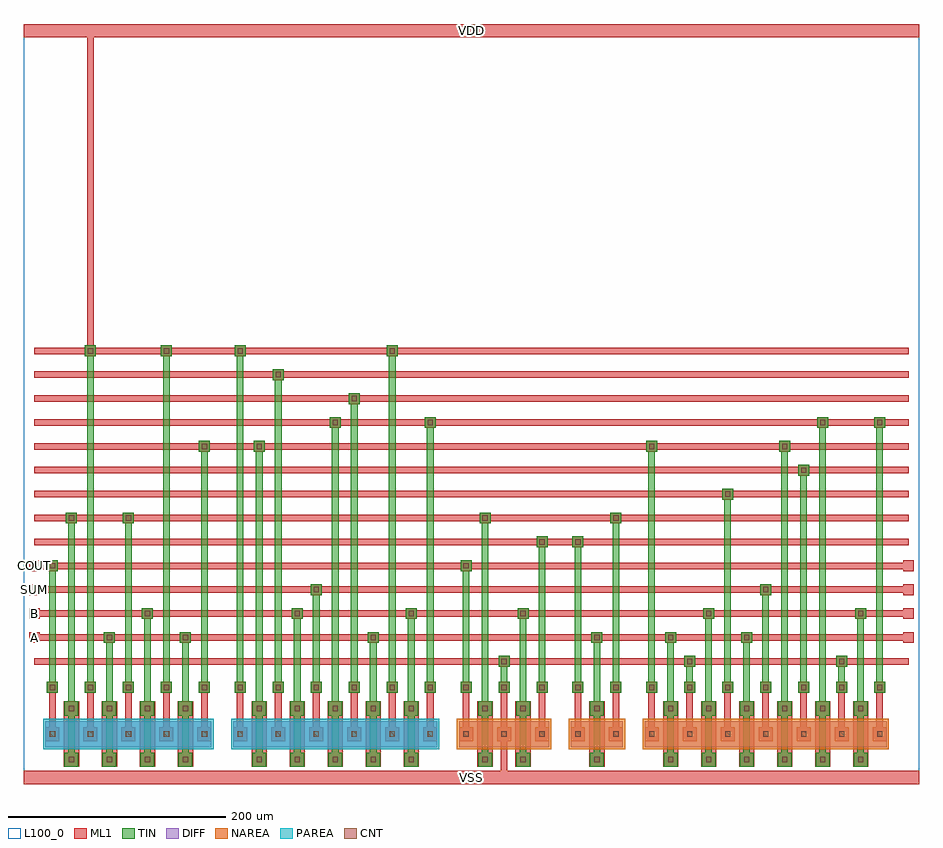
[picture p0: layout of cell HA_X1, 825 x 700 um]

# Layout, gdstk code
import gdstk
lib = gdstk.Library(unit=1e-6, precision=1e-09)
def R(c, l, rs):  # rectangles x0, y0, x1, y1
    for r in rs: c.add(gdstk.rectangle(r[:2], r[2:], *l))
def A(c, l, x, y, w, h, nx, ny, dx, dy):  # array of equal rectangles
    R(c, l, [(x+i*dx, y+j*dy, x+i*dx+w, y+j*dy+h) for i in range(nx) for j in range(ny)])
DIFF = (3, 0)
TIN = (5, 0)
CNT = (7, 0)
ML1 = (8, 0)
PAREA = (18, 0)
NAREA = (19, 0)
L100_0 = (100, 0)

ha_x1 = lib.new_cell('HA_X1')
R(ha_x1, DIFF, [(20,34,173,58), (193,34,381,58), (401,34,484,58), (504,34,552,58), (572,34,795,58)])
A(ha_x1, TIN, 37.5, 16, 13, 13, 4, 2, 35, 47)
A(ha_x1, TIN, 210.5, 16, 13, 13, 5, 2, 35, 47)
A(ha_x1, TIN, 453.5, 16, 13, 13, 3, 2, 68, 47)
A(ha_x1, TIN, 624.5, 16, 13, 13, 5, 2, 35, 47)
A(ha_x1, TIN, 41, 28, 6, 37.5, 4, 1, 35, 0)
A(ha_x1, TIN, 214, 28, 6, 37.5, 5, 1, 35, 0)
A(ha_x1, TIN, 457, 28, 6, 37.5, 3, 1, 68, 0)
A(ha_x1, TIN, 628, 28, 6, 37.5, 5, 1, 35, 0)
A(ha_x1, TIN, 21.5, 84, 10, 10, 5, 1, 35, 0)
A(ha_x1, TIN, 194.5, 84, 10, 10, 6, 1, 35, 0)
A(ha_x1, TIN, 402.5, 84, 10, 10, 3, 1, 35, 0)
A(ha_x1, TIN, 573.5, 84, 10, 10, 7, 1, 35, 0)
R(ha_x1, TIN, [(418.5,16,431.5,29), (422,28,428,65.5), (418.5,63,431.5,76), (41,69.5,47,245), (76,69.5,82,135), (111,69.5,117,157), (146,69.5,152,135), (214,69.5,220,311), (249,69.5,255,157), (284,69.5,290,333), (319,69.5,325,135), (354,69.5,360,157), (422,69.5,428,245), (457,69.5,463,157), (525,69.5,531,135), (593,69.5,599,135), (628,69.5,634,157), (663,69.5,669,135), (698,69.5,704,311), (733,69.5,739,333), (768,69.5,774,157), (505.5,84,515.5,94), (540.5,84,550.5,94), (23.5,89,29.5,201), (58.5,89,64.5,399), (93.5,89,99.5,245), (128.5,89,134.5,399), (163.5,89,169.5,311), (196.5,89,202.5,399), (231.5,89,237.5,377), (266.5,89,272.5,179), (301.5,89,307.5,355), (336.5,89,342.5,399), (371.5,89,377.5,333), (404.5,89,410.5,201), (439.5,89,445.5,113), (474.5,89,480.5,223), (507.5,89,513.5,223), (542.5,89,548.5,245), (575.5,89,581.5,311), (610.5,89,616.5,113), (645.5,89,651.5,267), (680.5,89,686.5,179), (715.5,89,721.5,289), (750.5,89,756.5,113), (785.5,89,791.5,333), (437.5,108,447.5,118), (608.5,108,618.5,118), (748.5,108,758.5,118), (74,130,84,140), (144,130,154,140), (317,130,327,140), (523,130,533,140), (591,130,601,140), (661,130,671,140), (109,152,119,162), (247,152,257,162), (352,152,362,162), (455,152,465,162), (626,152,636,162), (766,152,776,162), (264.5,174,274.5,184), (678.5,174,688.5,184), (21.5,196,31.5,206), (402.5,196,412.5,206), (472.5,218,482.5,228), (505.5,218,515.5,228), (39,240,49,250), (91.5,240,101.5,250), (420,240,430,250), (540.5,240,550.5,250), (643.5,262,653.5,272), (713.5,284,723.5,294), (161.5,306,171.5,316), (212,306,222,316), (573.5,306,583.5,316), (696,306,706,316), (282,328,292,338), (369.5,328,379.5,338), (731,328,741,338), (783.5,328,793.5,338), (299.5,350,309.5,360), (229.5,372,239.5,382), (56.5,394,66.5,404), (126.5,394,136.5,404), (194.5,394,204.5,404), (334.5,394,344.5,404)])
A(ha_x1, CNT, 41.5, 20, 5, 5, 4, 2, 35, 47)
A(ha_x1, CNT, 214.5, 20, 5, 5, 5, 2, 35, 47)
A(ha_x1, CNT, 457.5, 20, 5, 5, 3, 2, 68, 47)
A(ha_x1, CNT, 628.5, 20, 5, 5, 5, 2, 35, 47)
A(ha_x1, CNT, 24, 43.5, 5, 5, 5, 2, 35, 43)
A(ha_x1, CNT, 197, 43.5, 5, 5, 6, 2, 35, 43)
A(ha_x1, CNT, 405, 43.5, 5, 5, 3, 2, 35, 43)
A(ha_x1, CNT, 576, 43.5, 5, 5, 7, 2, 35, 43)
R(ha_x1, CNT, [(422.5,20,427.5,25), (508,43.5,513,48.5), (543,43.5,548,48.5), (422.5,67,427.5,72), (508,86.5,513,91.5), (543,86.5,548,91.5), (440,110.5,445,115.5), (611,110.5,616,115.5), (751,110.5,756,115.5), (76.5,132.5,81.5,137.5), (146.5,132.5,151.5,137.5), (319.5,132.5,324.5,137.5), (525.5,132.5,530.5,137.5), (593.5,132.5,598.5,137.5), (663.5,132.5,668.5,137.5), (111.5,154.5,116.5,159.5), (249.5,154.5,254.5,159.5), (354.5,154.5,359.5,159.5), (457.5,154.5,462.5,159.5), (628.5,154.5,633.5,159.5), (768.5,154.5,773.5,159.5), (267,176.5,272,181.5), (681,176.5,686,181.5), (24,198.5,29,203.5), (405,198.5,410,203.5), (475,220.5,480,225.5), (508,220.5,513,225.5), (41.5,242.5,46.5,247.5), (94,242.5,99,247.5), (422.5,242.5,427.5,247.5), (543,242.5,548,247.5), (646,264.5,651,269.5), (716,286.5,721,291.5), (164,308.5,169,313.5), (214.5,308.5,219.5,313.5), (576,308.5,581,313.5), (698.5,308.5,703.5,313.5), (284.5,330.5,289.5,335.5), (372,330.5,377,335.5), (733.5,330.5,738.5,335.5), (786,330.5,791,335.5), (302,352.5,307,357.5), (232,374.5,237,379.5), (59,396.5,64,401.5), (129,396.5,134,401.5), (197,396.5,202,401.5), (337,396.5,342,401.5)])
A(ha_x1, ML1, 37, 16, 14, 60, 4, 1, 35, 0)
A(ha_x1, ML1, 37.5, 16, 13, 13, 4, 2, 35, 47)
A(ha_x1, ML1, 210, 16, 14, 60, 5, 1, 35, 0)
A(ha_x1, ML1, 210.5, 16, 13, 13, 5, 2, 35, 47)
A(ha_x1, ML1, 453, 16, 14, 60, 3, 1, 68, 0)
A(ha_x1, ML1, 453.5, 16, 13, 13, 3, 2, 68, 47)
A(ha_x1, ML1, 624, 16, 14, 60, 5, 1, 35, 0)
A(ha_x1, ML1, 624.5, 16, 13, 13, 5, 2, 35, 47)
A(ha_x1, ML1, 20, 39.5, 13, 13, 5, 1, 35, 0)
A(ha_x1, ML1, 193, 39.5, 13, 13, 6, 1, 35, 0)
A(ha_x1, ML1, 401, 39.5, 13, 13, 3, 1, 35, 0)
A(ha_x1, ML1, 572, 39.5, 13, 13, 7, 1, 35, 0)
A(ha_x1, ML1, 23.5, 46, 6, 43, 5, 1, 35, 0)
A(ha_x1, ML1, 196.5, 46, 6, 43, 6, 1, 35, 0)
A(ha_x1, ML1, 404.5, 46, 6, 43, 3, 1, 35, 0)
A(ha_x1, ML1, 575.5, 46, 6, 43, 7, 1, 35, 0)
A(ha_x1, ML1, 21.5, 84, 10, 10, 5, 1, 35, 0)
A(ha_x1, ML1, 194.5, 84, 10, 10, 6, 1, 35, 0)
A(ha_x1, ML1, 402.5, 84, 10, 10, 3, 1, 35, 0)
A(ha_x1, ML1, 573.5, 84, 10, 10, 7, 1, 35, 0)
A(ha_x1, ML1, 10, 110, 805, 6, 1, 14, 0, 22)
A(ha_x1, ML1, 5, 130, 10, 10, 1, 4, 0, 22)
A(ha_x1, ML1, 810, 130, 10, 10, 1, 4, 0, 22)
R(ha_x1, ML1, [(0,0,825,12), (439.5,3,445.5,92), (418,16,432,76), (418.5,16,431.5,29), (504,39.5,517,52.5), (539,39.5,552,52.5), (507.5,46,513.5,89), (542.5,46,548.5,89), (418.5,63,431.5,76), (505.5,84,515.5,94), (540.5,84,550.5,94), (437.5,108,447.5,118), (608.5,108,618.5,118), (748.5,108,758.5,118), (74,130,84,140), (144,130,154,140), (317,130,327,140), (523,130,533,140), (591,130,601,140), (661,130,671,140), (109,152,119,162), (247,152,257,162), (352,152,362,162), (455,152,465,162), (626,152,636,162), (766,152,776,162), (264.5,174,274.5,184), (678.5,174,688.5,184), (21.5,196,31.5,206), (402.5,196,412.5,206), (472.5,218,482.5,228), (505.5,218,515.5,228), (39,240,49,250), (91.5,240,101.5,250), (420,240,430,250), (540.5,240,550.5,250), (643.5,262,653.5,272), (713.5,284,723.5,294), (161.5,306,171.5,316), (212,306,222,316), (573.5,306,583.5,316), (696,306,706,316), (282,328,292,338), (369.5,328,379.5,338), (731,328,741,338), (783.5,328,793.5,338), (299.5,350,309.5,360), (229.5,372,239.5,382), (56.5,394,66.5,404), (126.5,394,136.5,404), (194.5,394,204.5,404), (334.5,394,344.5,404), (58.5,396,64.5,697), (0,688,825,700)])
R(ha_x1, PAREA, [(18,32,175,60), (191,32,383,60)])
R(ha_x1, NAREA, [(399,32,486,60), (502,32,554,60), (570,32,797,60)])
R(ha_x1, L100_0, [(0,0,825,700)])
ha_x1.add(gdstk.Label('A', (10,135), layer=13, texttype=0))
ha_x1.add(gdstk.Label('B', (10,157), layer=13, texttype=0))
ha_x1.add(gdstk.Label('SUM', (10,179), layer=13, texttype=0))
ha_x1.add(gdstk.Label('COUT', (10,201), layer=13, texttype=0))
ha_x1.add(gdstk.Label('VDD', (412.5,694), layer=13, texttype=0))
ha_x1.add(gdstk.Label('VSS', (412.5,6), layer=13, texttype=0))

lib.write_gds('HA_X1.gds')
